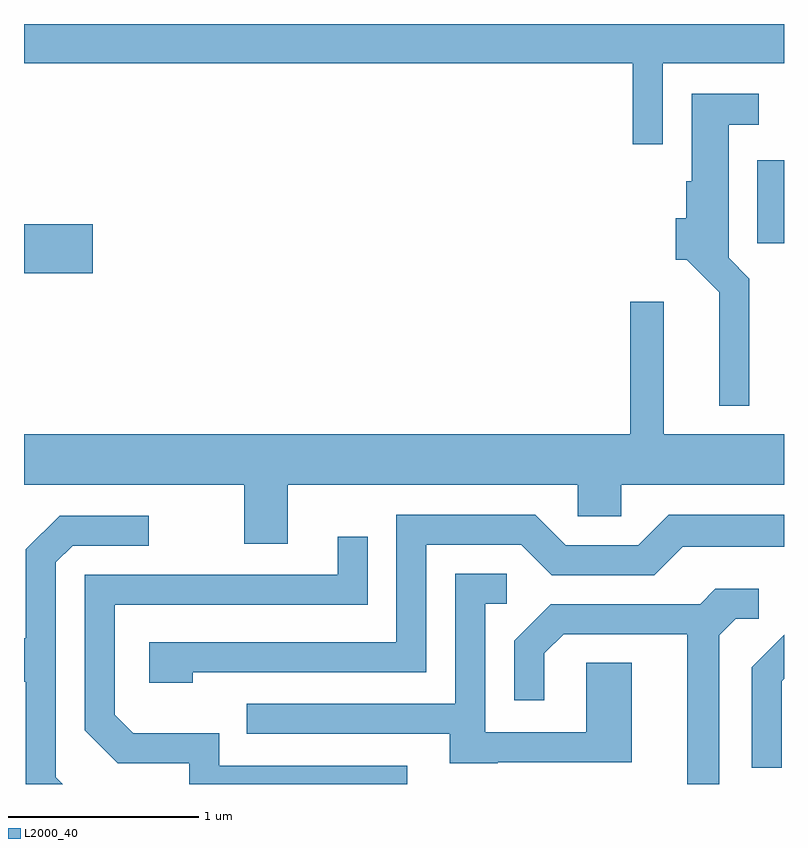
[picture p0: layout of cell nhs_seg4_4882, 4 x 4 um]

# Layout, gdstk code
import gdstk
lib = gdstk.Library(unit=1e-6, precision=1e-09)
def R(c, l, rs):  # rectangles x0, y0, x1, y1
    for r in rs: c.add(gdstk.rectangle(r[:2], r[2:], *l))
def P(c, l, *ps):  # polygons
    for p in ps: c.add(gdstk.Polygon(p, *l))
L2000_40 = (2000, 40)

nhs_seg4_4882 = lib.new_cell('nhs_seg4_4882')
R(nhs_seg4_4882, L2000_40, [(327.611,1364.671,327.974,1364.929), (331.471,1364.828,331.611,1365.264)])
P(nhs_seg4_4882, L2000_40, [(330.974,1365.776),(331.611,1365.776),(331.611,1365.982),(327.611,1365.982),(327.611,1365.776),(330.816,1365.776),(330.816,1365.348),(330.974,1365.348)],
  [(331.429,1364.642),(331.319,1364.752),(331.319,1365.451),(331.478,1365.451),(331.478,1365.614),(331.126,1365.614),(331.126,1365.154),(331.096,1365.154),(331.096,1364.959),(331.041,1364.959),(331.041,1364.741),(331.099,1364.741),(331.271,1364.569),(331.271,1363.973),(331.429,1363.973)],
  [(328.999,1363.556),(330.526,1363.556),(330.526,1363.391),(330.754,1363.391),(330.754,1363.556),(331.611,1363.556),(331.611,1363.824),(330.979,1363.824),(330.979,1364.519),(330.801,1364.519),(330.801,1363.824),(327.611,1363.824),(327.611,1363.556),(328.771,1363.556),(328.771,1363.246),(328.999,1363.246)],
  [(328.499,1362.571),(329.729,1362.571),(329.729,1363.241),(330.229,1363.241),(330.389,1363.081),(330.927,1363.081),(331.077,1363.231),(331.611,1363.231),(331.611,1363.399),(331.004,1363.399),(330.844,1363.239),(330.462,1363.239),(330.302,1363.399),(329.571,1363.399),(329.571,1362.729),(328.271,1362.729),(328.271,1362.516),(328.499,1362.516)],
  [(327.779,1362.017),(327.779,1363.149),(327.867,1363.236),(328.268,1363.236),(328.268,1363.394),(327.799,1363.394),(327.621,1363.217),(327.621,1362.749),(327.611,1362.749),(327.611,1362.521),(327.621,1362.521),(327.621,1361.982),(327.814,1361.982)],
  [(329.629,1362.079),(328.639,1362.079),(328.639,1362.249),(328.187,1362.249),(328.089,1362.347),(328.089,1362.926),(329.419,1362.926),(329.419,1363.283),(329.261,1363.283),(329.261,1363.084),(327.931,1363.084),(327.931,1362.264),(328.104,1362.091),(328.481,1362.091),(328.481,1361.982),(329.629,1361.982)],
  [(330.105,1362.096),(330.809,1362.096),(330.809,1362.619),(330.571,1362.619),(330.571,1362.254),(330.039,1362.254),(330.039,1362.931),(330.153,1362.931),(330.153,1363.089),(329.881,1363.089),(329.881,1362.404),(328.783,1362.404),(328.783,1362.246),(329.851,1362.246),(329.851,1362.091),(330.105,1362.091)],
  [(331.269,1362.764),(331.357,1362.851),(331.478,1362.851),(331.478,1363.009),(331.249,1363.009),(331.169,1362.929),(330.384,1362.929),(330.191,1362.737),(330.191,1362.423),(330.349,1362.423),(330.349,1362.669),(330.452,1362.771),(331.101,1362.771),(331.101,1361.982),(331.269,1361.982)],
  [(331.599,1362.524),(331.611,1362.536),(331.611,1362.767),(331.441,1362.597),(331.441,1362.068),(331.599,1362.068)])

lib.write_gds('nhs_seg4_4882.gds')
